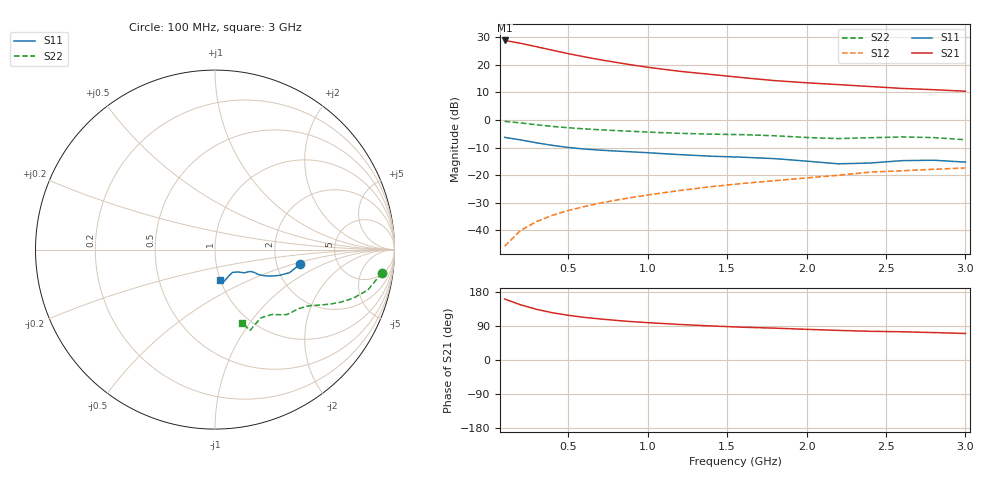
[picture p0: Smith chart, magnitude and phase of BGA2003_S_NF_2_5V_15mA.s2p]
! Title: BGA2003
! Bias: V(Vs_Out)=2.5V; I(CTRL)=15mA controlled / noise data included
! Company: Philips Semiconductors NL
! User: Quality&Reliability DiscreteSemiConductors-Nijmegen
! Measure time: 15 Jan 1999 / 14:08:01
#  MHz  S  MA  R 50
! Freq  S11  S21  S12  S22  :
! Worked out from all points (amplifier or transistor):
!   20 points, 100 MHz to 3 GHz, reference 50 ohm
!   highest |S21| = 28.7 dB at 100 MHz (marker M1)
!   |S21| within 3 dB of that: start of sweep to 358.7 MHz
!   unconditionally stable (mu >= 1): 900.6 MHz to end of sweep
!   at 400 MHz: K = 0.78, MSG = 29.9 dB, |S12| = -34.5 dB
!   at 1.2 GHz: K = 1.06, MAG = 20.1 dB, |S12| = -25.5 dB
!   at 3 GHz: K = 1.07, MAG = 12.3 dB, |S12| = -17.4 dB
!   lowest NFmin = 2.03 dB at 900 MHz
100  0.482 -9.6  27.24 161.0  0.005205 85.5  0.9387 -8.0
200  0.4346 -17.2  24.22 145.7  0.00998 84.0  0.8809 -14.8
300  0.385 -22.0  21.02 133.8  0.01444 83.0  0.8153 -19.4
400  0.346 -25.2  18.16 124.8  0.01876 82.7  0.7618 -22.6
500  0.317 -27.5  15.74 118.0  0.02289 83.0  0.7196 -24.8
600  0.297 -28.9  13.82 112.7  0.027 83.2  0.6872 -26.5
700  0.2835 -29.7  12.23 108.3  0.03119 83.6  0.662 -27.8
800  0.2731 -29.9  10.95 104.6  0.03529 83.7  0.6402 -29.0
900  0.264 -30.0  9.843 101.2  0.03948 83.8  0.6199 -30.3
1000  0.2545 -30.1  8.926 98.6  0.04377 83.9  0.6014 -31.6
1200  0.2352 -31.3  7.555 93.8  0.0528 84.0  0.5706 -35.2
1400  0.2201 -34.3  6.622 89.9  0.06201 84.0  0.552 -39.2
1600  0.211 -37.6  5.785 86.4  0.07088 83.9  0.5393 -42.2
1800  0.199 -40.1  5.124 84.1  0.07957 83.6  0.5159 -44.7
2000  0.1794 -43.8  4.676 80.9  0.08916 82.5  0.4801 -48.9
2200  0.1604 -52.3  4.339 78.1  0.09961 81.7  0.4583 -55.9
2400  0.1656 -62.5  4.007 75.8  0.1135 80.7  0.4751 -62.6
2600  0.1832 -73.6  3.701 74.5  0.1201 80.2  0.491 -66.5
2800  0.1863 -77.1  3.509 72.4  0.1277 79.9  0.478 -67.2
3000  0.1721 -80.7  3.292 70.0  0.1351 79.0  0.4368 -69.8
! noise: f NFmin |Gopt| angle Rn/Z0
900  2.03  0.08  -170  0.17
1000  2.03  0.11  -154.7  0.17
1800  2.03  0.15  -122.3  0.2
2000  2.06  0.16  -123  0.21
2400  2.36  0.13  -117.6  0.27
